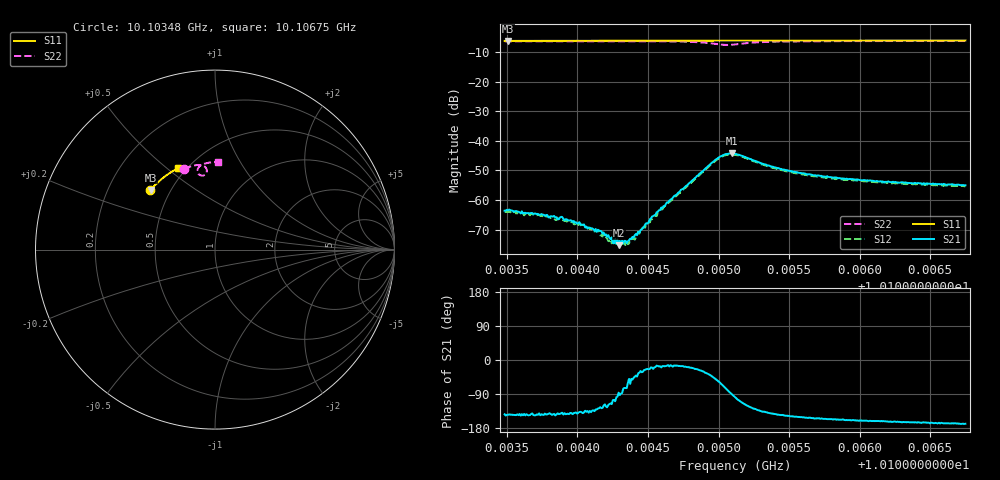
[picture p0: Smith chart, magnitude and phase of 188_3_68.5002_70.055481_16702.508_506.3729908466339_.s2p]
#  HZ  S  RI  R  50.00
! Rohde & Schwarz Vector Network Analyzer
! Rohde-Schwarz,ZNB20-2Port,1311601062101988,3.16
! Created: UTC 3/20/2024, 5:12:08 PM
! freq[Hz]  re:S11  im:S11  re:S21  im:S21  re:S12  im:S12  re:S22  im:S22
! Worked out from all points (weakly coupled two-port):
!   401 points, 10.10348 GHz to 10.10675 GHz, reference 50 ohm
!   highest |S21| = -44.26 dB at 10.10509 GHz (marker M1); lowest = -75.3 dB at 10.10429 GHz (marker M2)
!   lowest |S11| = -6.2 dB at 10.10351 GHz (marker M3), VSWR 2.92, Z = 19.4 + j17 ohm
!   |S11| at or under -10 dB: nowhere
!   |S22| runs from -7.6 to -6.2 dB; largest |S21 - S12| = 0.00067
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1.0103484e10  -0.3598 0.3316  -0.00053 -0.000393  -0.000462 -0.000429  -0.1707 0.4502
1.0103509e10  -0.3588 0.3327  -0.000545 -0.000387  -0.000475 -0.000421  -0.1692 0.4509
1.0103786e10  -0.3476 0.3455  -0.000448 -0.000334  -0.000397 -0.000345  -0.1515 0.4578
1.0103892e10  -0.3434 0.3503  -0.00039 -0.000339  -0.000333 -0.000317  -0.1443 0.4602
1.0104031e10  -0.3375 0.3563  -0.000286 -0.000255  -0.000259 -0.000283  -0.1349 0.4633
1.0104072e10  -0.3357 0.3582  -0.000232 -0.000233  -0.000215 -0.000263  -0.1322 0.4641
1.010417e10  -0.3317 0.3624  -0.00018 -0.000238  -0.000144 -0.000213  -0.1251 0.4661
1.0104227e10  -0.3291 0.3648  -0.000101 -0.000205  -7.56e-05 -0.000186  -0.1208 0.4673
1.0104243e10  -0.3285 0.3656  -0.000104 -0.00021  -4.74e-05 -0.000179  -0.1195 0.4676
1.0104292e10  -0.3263 0.3677  1.12e-05 -0.000171  6.69e-06 -0.000167  -0.1158 0.4685
1.0104358e10  -0.3235 0.3704  9.86e-05 -0.000176  9.62e-05 -0.000151  -0.1107 0.4695
1.0104407e10  -0.3212 0.3726  0.000182 -0.000177  0.000167 -0.000133  -0.1065 0.4703
1.0104447e10  -0.3194 0.3741  0.00027 -0.000151  0.000274 -0.000111  -0.1032 0.4708
1.0104578e10  -0.3137 0.3794  0.000641 -0.000198  0.000626 -0.000135  -0.0911 0.4717
1.0104978e10  -0.295 0.3951  0.00307 -0.00364  0.00328 -0.0032  -0.0457 0.4335
1.0105035e10  -0.2923 0.3971  0.00209 -0.00537  0.00251 -0.00496  -0.0569 0.4164
1.0105092e10  -0.2898 0.3993  -2.5e-06 -0.00613  0.000564 -0.00586  -0.0785 0.4129
1.0105117e10  -0.2886 0.4001  -0.00086 -0.00594  -0.000322 -0.00579  -0.0865 0.4167
1.0105411e10  -0.2746 0.411  -0.00281 -0.00209  -0.0025 -0.00224  -0.0817 0.4678
1.0105664e10  -0.2622 0.42  -0.00237 -0.0012  -0.00213 -0.00137  -0.0591 0.4787
1.0106211e10  -0.2342 0.4377  -0.00194 -0.000596  -0.00179 -0.000735  -0.0179 0.4865
1.010675e10  -0.2054 0.4531  -0.00173 -0.000357  -0.00162 -0.000498  0.0186 0.4886
